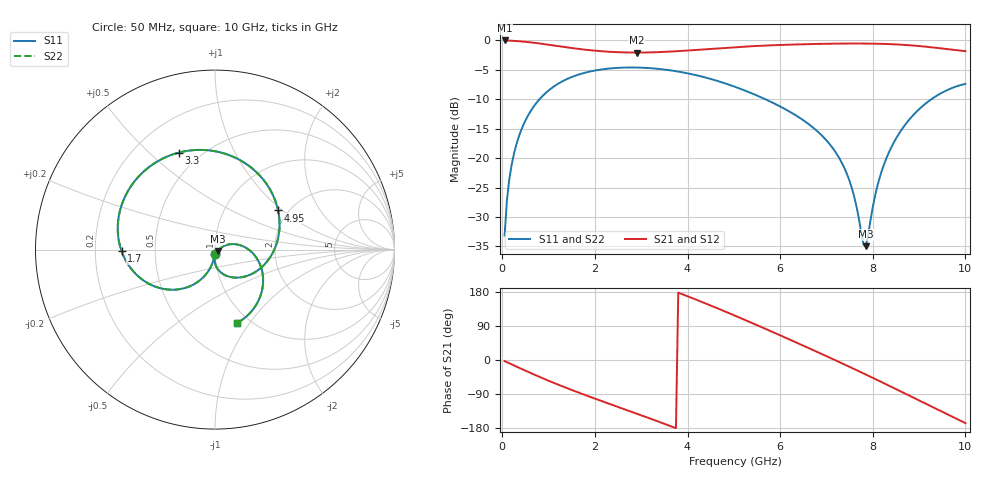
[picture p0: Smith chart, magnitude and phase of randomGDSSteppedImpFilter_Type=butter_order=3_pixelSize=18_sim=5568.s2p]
! freq	dB(S11)	phase(S11)	dB(S12)	phase(S12)
!  dB(S21)	phase(S21)	dB(S22)	phase(S22)
!S-par simulation data
#  GHz  S  DB  R 50
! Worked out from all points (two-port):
!   200 points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, 50 MHz to 10 GHz, reference 50 ohm
!   highest |S21| = 0.00 dB at 50 MHz (marker M1); lowest = -2.1 dB at 2.9 GHz (marker M2)
!   |S21| within 3 dB of the highest: start of sweep to end of sweep
!   lowest |S11| = -35.0 dB at 7.85 GHz (marker M3), VSWR 1.04, Z = 51.6 - j0.766 ohm
!   |S11| at or under -10 dB: start of sweep to 802.9 MHz; 5.682 GHz to 9.264 GHz (3.582 GHz wide, 47.9 % of centre)
!   |S22| runs from -35.1 to -4.6 dB; largest |S21 - S12| = 0
!   S11 on the Smith chart (normalised r, x): 50 MHz: 1.00, -0.04; 1.7 GHz: 0.32, -0.01; 3.3 GHz: 0.38, +0.62; 4.95 GHz: 1.77, +0.93; 10 GHz: 0.87, -0.87
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0.05  -33.17 -92.9  -0.00 -2.9  -0.00 -2.9  -33.17 -92.9
0.1  -27.17 -96.0  -0.02 -5.8  -0.02 -5.8  -27.17 -96.0
0.2  -21.22 -101.9  -0.05 -11.4  -0.05 -11.4  -21.22 -101.9
0.5  -13.60 -118.8  -0.23 -28.2  -0.23 -28.2  -13.60 -118.8
1.05  -8.19 -147.8  -0.79 -57.2  -0.79 -57.2  -8.19 -147.8
1.7  -5.67 -179.0  -1.49 -88.4  -1.49 -88.4  -5.67 -179.0
1.75  -5.56 178.7  -1.54 -90.7  -1.54 -90.7  -5.56 178.7
2.9  -4.61 128.1  -2.06 -141.5  -2.06 -141.5  -4.61 128.1
3.3  -4.78 110.4  -2.01 -159.3  -2.01 -159.3  -4.78 110.4
3.4  -4.86 105.9  -1.98 -163.8  -1.98 -163.8  -4.86 105.9
4.2  -5.93 68.7  -1.61 158.6  -1.61 158.6  -5.93 68.7
4.95  -7.67 31.8  -1.19 120.9  -1.19 120.9  -7.67 31.7
5.05  -7.95 26.8  -1.14 115.7  -1.14 115.7  -7.95 26.7
5.85  -10.63 -14.2  -0.82 73.2  -0.82 73.2  -10.63 -14.3
6.7  -14.74 -57.6  -0.61 26.8  -0.61 26.8  -14.74 -57.8
7.4  -21.92 -88.8  -0.53 -12.4  -0.53 -12.4  -21.92 -89.1
7.85  -34.96 -24.5  -0.53 -38.3  -0.53 -38.3  -35.06 -24.5
8.1  -24.72 21.8  -0.56 -52.9  -0.56 -52.9  -24.73 21.9
8.35  -19.00 15.8  -0.62 -67.7  -0.62 -67.7  -19.01 15.8
9.05  -11.33 -20.0  -0.99 -109.7  -0.99 -109.7  -11.33 -20.1
9.55  -8.65 -48.1  -1.42 -139.6  -1.42 -139.6  -8.66 -48.2
10  -7.38 -73.6  -1.83 -166.5  -1.83 -166.5  -7.38 -73.7
